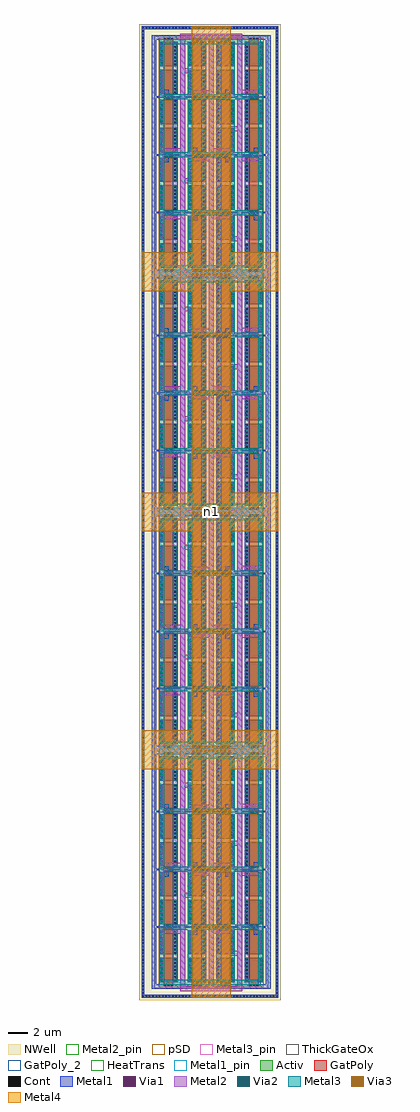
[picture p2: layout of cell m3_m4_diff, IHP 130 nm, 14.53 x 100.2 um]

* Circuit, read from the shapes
.subckt m3_m4_diff avdd n1 outx
XM1 n2 n1 avdd avdd sg13_hv_pmos w=2.5u l=1u
XM2 n2 n1 outx avdd sg13_hv_pmos w=2.5u l=1u
XM3 n3 n1 avdd avdd sg13_hv_pmos w=2.5u l=1u
XM4 n3 n1 n1 avdd sg13_hv_pmos w=2.5u l=1u
XM5 n4 n1 outx avdd sg13_hv_pmos w=2.5u l=1u
XM6 n4 n1 avdd avdd sg13_hv_pmos w=2.5u l=1u
XM7 n5 n1 n1 avdd sg13_hv_pmos w=2.5u l=1u
XM8 n5 n1 avdd avdd sg13_hv_pmos w=2.5u l=1u
XM9 n6 n1 avdd avdd sg13_hv_pmos w=2.5u l=1u
XM10 n6 n1 outx avdd sg13_hv_pmos w=2.5u l=1u
XM11 n7 n1 avdd avdd sg13_hv_pmos w=2.5u l=1u
XM12 n7 n1 n1 avdd sg13_hv_pmos w=2.5u l=1u
XM13 n8 n1 outx avdd sg13_hv_pmos w=2.5u l=1u
XM14 n8 n1 avdd avdd sg13_hv_pmos w=2.5u l=1u
XM15 n9 n1 n1 avdd sg13_hv_pmos w=2.5u l=1u
XM16 n9 n1 avdd avdd sg13_hv_pmos w=2.5u l=1u
XM17 n10 n1 avdd avdd sg13_hv_pmos w=2.5u l=1u
XM18 n10 n1 outx avdd sg13_hv_pmos w=2.5u l=1u
XM19 n11 n1 avdd avdd sg13_hv_pmos w=2.5u l=1u
XM20 n11 n1 n1 avdd sg13_hv_pmos w=2.5u l=1u
XM21 n12 n1 outx avdd sg13_hv_pmos w=2.5u l=1u
XM22 n12 n1 avdd avdd sg13_hv_pmos w=2.5u l=1u
XM23 n13 n1 n1 avdd sg13_hv_pmos w=2.5u l=1u
XM24 n13 n1 avdd avdd sg13_hv_pmos w=2.5u l=1u
XM25 n14 n1 avdd avdd sg13_hv_pmos w=2.5u l=1u
XM26 n14 n1 outx avdd sg13_hv_pmos w=2.5u l=1u
XM27 n15 n1 avdd avdd sg13_hv_pmos w=2.5u l=1u
XM28 n15 n1 n1 avdd sg13_hv_pmos w=2.5u l=1u
XM29 n16 n1 outx avdd sg13_hv_pmos w=2.5u l=1u
XM30 n16 n1 avdd avdd sg13_hv_pmos w=2.5u l=1u
XM31 n17 n1 n1 avdd sg13_hv_pmos w=2.5u l=1u
XM32 n17 n1 avdd avdd sg13_hv_pmos w=2.5u l=1u
XM33 n18 n1 avdd avdd sg13_hv_pmos w=2.5u l=1u
XM34 n18 n1 n1 avdd sg13_hv_pmos w=2.5u l=1u
XM35 n19 n1 avdd avdd sg13_hv_pmos w=2.5u l=1u
XM36 n19 n1 outx avdd sg13_hv_pmos w=2.5u l=1u
XM37 n20 n1 n1 avdd sg13_hv_pmos w=2.5u l=1u
XM38 n20 n1 avdd avdd sg13_hv_pmos w=2.5u l=1u
XM39 n21 n1 outx avdd sg13_hv_pmos w=2.5u l=1u
XM40 n21 n1 avdd avdd sg13_hv_pmos w=2.5u l=1u
XM41 n22 n1 avdd avdd sg13_hv_pmos w=2.5u l=1u
XM42 n22 n1 n1 avdd sg13_hv_pmos w=2.5u l=1u
XM43 n23 n1 avdd avdd sg13_hv_pmos w=2.5u l=1u
XM44 n23 n1 outx avdd sg13_hv_pmos w=2.5u l=1u
XM45 n24 n1 n1 avdd sg13_hv_pmos w=2.5u l=1u
XM46 n24 n1 avdd avdd sg13_hv_pmos w=2.5u l=1u
XM47 n25 n1 outx avdd sg13_hv_pmos w=2.5u l=1u
XM48 n25 n1 avdd avdd sg13_hv_pmos w=2.5u l=1u
XM49 n26 n1 avdd avdd sg13_hv_pmos w=2.5u l=1u
XM50 n26 n1 n1 avdd sg13_hv_pmos w=2.5u l=1u
XM51 n27 n1 avdd avdd sg13_hv_pmos w=2.5u l=1u
XM52 n27 n1 outx avdd sg13_hv_pmos w=2.5u l=1u
XM53 n28 n1 n1 avdd sg13_hv_pmos w=2.5u l=1u
XM54 n28 n1 avdd avdd sg13_hv_pmos w=2.5u l=1u
XM55 n29 n1 outx avdd sg13_hv_pmos w=2.5u l=1u
XM56 n29 n1 avdd avdd sg13_hv_pmos w=2.5u l=1u
XM57 n30 n1 avdd avdd sg13_hv_pmos w=2.5u l=1u
XM58 n30 n1 n1 avdd sg13_hv_pmos w=2.5u l=1u
XM59 n31 n1 avdd avdd sg13_hv_pmos w=2.5u l=1u
XM60 n31 n1 outx avdd sg13_hv_pmos w=2.5u l=1u
XM61 n32 n1 n1 avdd sg13_hv_pmos w=2.5u l=1u
XM62 n32 n1 avdd avdd sg13_hv_pmos w=2.5u l=1u
XM63 n33 n1 outx avdd sg13_hv_pmos w=2.5u l=1u
XM64 n33 n1 avdd avdd sg13_hv_pmos w=2.5u l=1u
XM65 avdd n1 n34 avdd sg13_hv_pmos w=2.5u l=1u
XM66 outx n1 n34 avdd sg13_hv_pmos w=2.5u l=1u
XM67 avdd n1 n35 avdd sg13_hv_pmos w=2.5u l=1u
XM68 n1 n1 n35 avdd sg13_hv_pmos w=2.5u l=1u
XM69 outx n1 n36 avdd sg13_hv_pmos w=2.5u l=1u
XM70 avdd n1 n36 avdd sg13_hv_pmos w=2.5u l=1u
XM71 n1 n1 n37 avdd sg13_hv_pmos w=2.5u l=1u
XM72 avdd n1 n37 avdd sg13_hv_pmos w=2.5u l=1u
XM73 avdd n1 n38 avdd sg13_hv_pmos w=2.5u l=1u
XM74 outx n1 n38 avdd sg13_hv_pmos w=2.5u l=1u
XM75 avdd n1 n39 avdd sg13_hv_pmos w=2.5u l=1u
XM76 n1 n1 n39 avdd sg13_hv_pmos w=2.5u l=1u
XM77 outx n1 n40 avdd sg13_hv_pmos w=2.5u l=1u
XM78 avdd n1 n40 avdd sg13_hv_pmos w=2.5u l=1u
XM79 n1 n1 n41 avdd sg13_hv_pmos w=2.5u l=1u
XM80 avdd n1 n41 avdd sg13_hv_pmos w=2.5u l=1u
XM81 avdd n1 n42 avdd sg13_hv_pmos w=2.5u l=1u
XM82 outx n1 n42 avdd sg13_hv_pmos w=2.5u l=1u
XM83 avdd n1 n43 avdd sg13_hv_pmos w=2.5u l=1u
XM84 n1 n1 n43 avdd sg13_hv_pmos w=2.5u l=1u
XM85 outx n1 n44 avdd sg13_hv_pmos w=2.5u l=1u
XM86 avdd n1 n44 avdd sg13_hv_pmos w=2.5u l=1u
XM87 n1 n1 n45 avdd sg13_hv_pmos w=2.5u l=1u
XM88 avdd n1 n45 avdd sg13_hv_pmos w=2.5u l=1u
XM89 avdd n1 n46 avdd sg13_hv_pmos w=2.5u l=1u
XM90 outx n1 n46 avdd sg13_hv_pmos w=2.5u l=1u
XM91 avdd n1 n47 avdd sg13_hv_pmos w=2.5u l=1u
XM92 n1 n1 n47 avdd sg13_hv_pmos w=2.5u l=1u
XM93 outx n1 n48 avdd sg13_hv_pmos w=2.5u l=1u
XM94 avdd n1 n48 avdd sg13_hv_pmos w=2.5u l=1u
XM95 n1 n1 n49 avdd sg13_hv_pmos w=2.5u l=1u
XM96 avdd n1 n49 avdd sg13_hv_pmos w=2.5u l=1u
XM97 avdd n1 n50 avdd sg13_hv_pmos w=2.5u l=1u
XM98 n1 n1 n50 avdd sg13_hv_pmos w=2.5u l=1u
XM99 avdd n1 n51 avdd sg13_hv_pmos w=2.5u l=1u
XM100 outx n1 n51 avdd sg13_hv_pmos w=2.5u l=1u
XM101 n1 n1 n52 avdd sg13_hv_pmos w=2.5u l=1u
XM102 avdd n1 n52 avdd sg13_hv_pmos w=2.5u l=1u
XM103 outx n1 n53 avdd sg13_hv_pmos w=2.5u l=1u
XM104 avdd n1 n53 avdd sg13_hv_pmos w=2.5u l=1u
XM105 avdd n1 n54 avdd sg13_hv_pmos w=2.5u l=1u
XM106 n1 n1 n54 avdd sg13_hv_pmos w=2.5u l=1u
XM107 avdd n1 n55 avdd sg13_hv_pmos w=2.5u l=1u
XM108 outx n1 n55 avdd sg13_hv_pmos w=2.5u l=1u
XM109 n1 n1 n56 avdd sg13_hv_pmos w=2.5u l=1u
XM110 avdd n1 n56 avdd sg13_hv_pmos w=2.5u l=1u
XM111 outx n1 n57 avdd sg13_hv_pmos w=2.5u l=1u
XM112 avdd n1 n57 avdd sg13_hv_pmos w=2.5u l=1u
XM113 avdd n1 n58 avdd sg13_hv_pmos w=2.5u l=1u
XM114 n1 n1 n58 avdd sg13_hv_pmos w=2.5u l=1u
XM115 avdd n1 n59 avdd sg13_hv_pmos w=2.5u l=1u
XM116 outx n1 n59 avdd sg13_hv_pmos w=2.5u l=1u
XM117 n1 n1 n60 avdd sg13_hv_pmos w=2.5u l=1u
XM118 avdd n1 n60 avdd sg13_hv_pmos w=2.5u l=1u
XM119 outx n1 n61 avdd sg13_hv_pmos w=2.5u l=1u
XM120 avdd n1 n61 avdd sg13_hv_pmos w=2.5u l=1u
XM121 avdd n1 n62 avdd sg13_hv_pmos w=2.5u l=1u
XM122 n1 n1 n62 avdd sg13_hv_pmos w=2.5u l=1u
XM123 avdd n1 n63 avdd sg13_hv_pmos w=2.5u l=1u
XM124 outx n1 n63 avdd sg13_hv_pmos w=2.5u l=1u
XM125 n1 n1 n64 avdd sg13_hv_pmos w=2.5u l=1u
XM126 avdd n1 n64 avdd sg13_hv_pmos w=2.5u l=1u
XM127 outx n1 n65 avdd sg13_hv_pmos w=2.5u l=1u
XM128 avdd n1 n65 avdd sg13_hv_pmos w=2.5u l=1u
.ends

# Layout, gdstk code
from math import pi, radians
import gdstk
lib = gdstk.Library(unit=1e-6, precision=1e-09)
def R(c, l, rs):  # rectangles x0, y0, x1, y1
    for r in rs: c.add(gdstk.rectangle(r[:2], r[2:], *l))
def A(c, l, x, y, w, h, nx, ny, dx, dy):  # array of equal rectangles
    R(c, l, [(x+i*dx, y+j*dy, x+i*dx+w, y+j*dy+h) for i in range(nx) for j in range(ny)])
def P(c, l, *ps):  # polygons
    for p in ps: c.add(gdstk.Polygon(p, *l))
Activ = (1, 0)
GatPoly = (5, 0)
GatPoly_2 = (5, 2)
Cont = (6, 0)
Metal1 = (8, 0)
Metal1_pin = (8, 2)
Metal2 = (10, 0)
Metal2_pin = (10, 2)
pSD = (14, 0)
Via1 = (19, 0)
Via2 = (29, 0)
Metal3 = (30, 0)
Metal3_pin = (30, 2)
NWell = (31, 0)
ThickGateOx = (44, 0)
Via3 = (49, 0)
Metal4 = (50, 0)
HeatTrans = (51, 0)

pmoshv = lib.new_cell('pmosHV')
R(pmoshv, Activ, [(0,0,0.3,0.3), (0,0,1.68,2.5), (1.38,0,1.68,0.3)])
R(pmoshv, GatPoly, [(0.34,-0.18,1.34,2.68)])
R(pmoshv, GatPoly_2, [(0.34,-0.18,1.34,2.68)])
A(pmoshv, Cont, 0.07, 0.07, 0.16, 0.16, 1, 3, 0, 0.365)
A(pmoshv, Cont, 1.45, 0.07, 0.16, 0.16, 1, 3, 0, 0.365)
A(pmoshv, Cont, 0.07, 1.17, 0.16, 0.16, 1, 3, 0, 0.365)
A(pmoshv, Cont, 1.45, 1.17, 0.16, 0.16, 1, 3, 0, 0.365)
R(pmoshv, Cont, [(0.07,2.27,0.23,2.43), (1.45,2.27,1.61,2.43)])
R(pmoshv, Metal1, [(0.07,0,0.23,2.5), (1.45,0,1.61,2.5)])
R(pmoshv, Metal1_pin, [(0.07,0,0.23,2.5), (1.45,0,1.61,2.5)])
R(pmoshv, pSD, [(-0.18,-0.4,1.86,2.9)])
R(pmoshv, NWell, [(-0.62,-0.62,2.3,3.12)])
R(pmoshv, ThickGateOx, [(-0.62,-0.62,2.3,3.12)])
R(pmoshv, HeatTrans, [(0.34,-0.18,1.34,2.68)])
pmoshv.add(gdstk.Label('pmosHV', (0.84,1.25), layer=63, texttype=0))
pmoshv.add(gdstk.Label('pmos', (0.84,1.25), layer=51, texttype=0))

via_stack = lib.new_cell('via_stack')
R(via_stack, Metal1, [(-0.105,-1.17,0.105,1.17)])
R(via_stack, Metal2, [(-0.1,-1.17,0.1,1.17)])
A(via_stack, Via1, -0.095, -1.12, 0.19, 0.19, 1, 6, 0, 0.41)
A(via_stack, Via2, -0.095, -1.12, 0.19, 0.19, 1, 6, 0, 0.41)
R(via_stack, Metal3, [(-0.1,-1.17,0.1,1.17)])

via_stack_1 = lib.new_cell('via_stack$1')
R(via_stack_1, Metal1, [(-0.105,-1.17,0.105,1.17)])
R(via_stack_1, Metal2, [(-0.1,-1.17,0.1,1.17)])
A(via_stack_1, Via1, -0.095, -1.12, 0.19, 0.19, 1, 6, 0, 0.41)

via_stack_3 = lib.new_cell('via_stack$3')
R(via_stack_3, GatPoly, [(-0.49,-0.15,0.49,0.15)])
A(via_stack_3, Cont, -0.42, -0.08, 0.16, 0.16, 3, 1, 0.34, 0)
R(via_stack_3, Metal1, [(-0.47,-0.08,0.47,0.08)])

p1_2_1 = lib.new_cell('p1_2$1')
R(p1_2_1, GatPoly, [(0.34,5.47,0.35,5.77), (0.34,5.47,0.35,5.77), (1.33,5.47,1.34,5.77), (1.33,5.47,1.34,5.77)])
R(p1_2_1, GatPoly_2, [(0.75,2.615,0.88,2.745)])
R(p1_2_1, Metal1_pin, [(0.085,1.185,0.215,1.315), (0.085,4.05,0.215,4.18)])
p1_2_1.add(gdstk.FlexPath([(1.53,5.36),(1.53,0),(1.53,0)], 0.5, ends="flush", simple_path=True, layer=8, datatype=0))  # Metal1
p1_2_1.add(gdstk.FlexPath([(0.15,2.86),(0.15,5.36)], 0.5, ends="flush", simple_path=True, layer=8, datatype=0))  # Metal1
p1_2_1.add(gdstk.FlexPath([(0.15,2.5),(0.15,0)], 0.5, ends="flush", simple_path=True, layer=8, datatype=0))  # Metal1
p1_2_1.add(gdstk.Reference(pmoshv, (0,2.86)))
p1_2_1.add(gdstk.Reference(pmoshv, (0,0)))
p1_2_1.add(gdstk.Reference(via_stack, (0.15,4.19)))
p1_2_1.add(gdstk.Reference(via_stack_1, (0.155,1.17)))
p1_2_1.add(gdstk.Reference(via_stack_3, (0.84,5.62)))
p1_2_1.add(gdstk.Reference(via_stack_3, (0.84,5.62)))
p1_2_1.add(gdstk.Label('S', (0.15,4.115), layer=8, texttype=25))
p1_2_1.add(gdstk.Label('D', (0.15,1.25), layer=8, texttype=25))
p1_2_1.add(gdstk.Label('G', (0.815,2.68), layer=5, texttype=1))

m3_m4_array = lib.new_cell('m3_m4_array')
R(m3_m4_array, Metal1, [(10.07,5.36,10.54,5.61), (10.09,5.61,10.095,5.77), (-0.1,11.325,0.37,11.49), (7.15,11.325,7.62,11.49), (2.82,11.65,3.29,11.815), (10.07,11.65,10.54,11.815), (-0.1,17.6,0.37,17.765), (7.15,17.6,7.62,17.765)])
R(m3_m4_array, pSD, [(-0.18,-0.4,10.62,23.61)])
m3_m4_array.add(gdstk.FlexPath([(0.37,17.52),(10.07,17.52)], 0.16, ends="flush", simple_path=True, layer=8, datatype=0))  # Metal1
m3_m4_array.add(gdstk.FlexPath([(0.37,11.57),(10.07,11.57)], 0.16, ends="flush", simple_path=True, layer=8, datatype=0))  # Metal1
m3_m4_array.add(gdstk.FlexPath([(0.37,23.64),(10.07,23.64)], 0.5, ends="flush", simple_path=True, layer=8, datatype=0))  # Metal1
m3_m4_array.add(gdstk.FlexPath([(10.09,-0.43),(0.37,-0.43)], 0.5, ends="flush", simple_path=True, layer=8, datatype=0))  # Metal1
m3_m4_array.add(gdstk.FlexPath([(2.3,-0.41),(2.3,23.55)], 0.5, ends="flush", simple_path=True, layer=8, datatype=0))  # Metal1
m3_m4_array.add(gdstk.FlexPath([(5.22,-0.41),(5.22,23.55)], 0.5, ends="flush", simple_path=True, layer=8, datatype=0))  # Metal1
m3_m4_array.add(gdstk.FlexPath([(8.14,-0.41),(8.14,23.55)], 0.5, ends="flush", simple_path=True, layer=8, datatype=0))  # Metal1
m3_m4_array.add(gdstk.FlexPath([(0.37,5.69),(10.09,5.69)], 0.16, ends="flush", simple_path=True, layer=8, datatype=0))  # Metal1
m3_m4_array.add(gdstk.FlexPath([(-0.1,18.015),(0.62,18.015),(0.62,17.44)], 0.5, ends="flush", simple_path=True, layer=8, datatype=0))  # Metal1
m3_m4_array.add(gdstk.FlexPath([(7.62,18.015),(6.9,18.015),(6.9,17.44)], 0.5, ends="flush", simple_path=True, layer=8, datatype=0))  # Metal1
m3_m4_array.add(gdstk.FlexPath([(2.82,12.065),(3.54,12.065),(3.54,11.49)], 0.5, ends="flush", simple_path=True, layer=8, datatype=0))  # Metal1
m3_m4_array.add(gdstk.FlexPath([(-0.1,11.075),(0.62,11.075),(0.62,11.65)], 0.5, ends="flush", simple_path=True, layer=8, datatype=0))  # Metal1
m3_m4_array.add(gdstk.FlexPath([(7.62,11.075),(6.9,11.075),(6.9,11.65)], 0.5, ends="flush", simple_path=True, layer=8, datatype=0))  # Metal1
m3_m4_array.add(gdstk.FlexPath([(2.82,5.11),(3.54,5.11),(3.54,5.685)], 0.5, ends="flush", simple_path=True, layer=8, datatype=0))  # Metal1
m3_m4_array.add(gdstk.FlexPath([(10.54,5.11),(9.82,5.11),(9.82,5.685)], 0.5, ends="flush", simple_path=True, layer=8, datatype=0))  # Metal1
m3_m4_array.add(gdstk.FlexPath([(0.37,-0.43),(-0.65,-0.43),(-0.65,1.64),(-0.65,1.64),(-0.65,23.64),(0.37,23.64)], 0.5, ends="flush", simple_path=True, layer=8, datatype=0))  # Metal1
m3_m4_array.add(gdstk.FlexPath([(10.07,-0.43),(11.09,-0.43),(11.09,1.64),(11.09,1.64),(11.09,23.64),(10.07,23.64)], 0.5, ends="flush", simple_path=True, layer=8, datatype=0))  # Metal1
m3_m4_array.add(gdstk.FlexPath([(10.07,17.52),(11.09,17.52)], 0.16, ends="flush", simple_path=True, layer=8, datatype=0))  # Metal1
m3_m4_array.add(gdstk.FlexPath([(10.07,11.57),(11.09,11.57)], 0.16, ends="flush", simple_path=True, layer=8, datatype=0))  # Metal1
m3_m4_array.add(gdstk.FlexPath([(10.095,5.69),(11.34,5.69)], 0.16, ends="flush", simple_path=True, layer=8, datatype=0))  # Metal1
m3_m4_array.add(gdstk.FlexPath([(0.37,5.69),(-0.4,5.69)], 0.16, ends="flush", simple_path=True, layer=8, datatype=0))  # Metal1
m3_m4_array.add(gdstk.FlexPath([(0.37,11.57),(-0.65,11.57)], 0.16, ends="flush", simple_path=True, layer=8, datatype=0))  # Metal1
m3_m4_array.add(gdstk.FlexPath([(0.37,17.52),(-0.65,17.52)], 0.16, ends="flush", simple_path=True, layer=8, datatype=0))  # Metal1
m3_m4_array.add(gdstk.FlexPath([(10.54,12.065),(9.82,12.065),(9.82,11.49)], 0.5, ends="flush", simple_path=True, layer=8, datatype=0))  # Metal1
m3_m4_array.add(gdstk.FlexPath([(2.3,23.55),(2.3,-0.68)], 0.5, ends="flush", simple_path=True, layer=10, datatype=0))  # Metal2
m3_m4_array.add(gdstk.FlexPath([(5.22,23.55),(5.22,-0.68)], 0.5, ends="flush", simple_path=True, layer=10, datatype=0))  # Metal2
m3_m4_array.add(gdstk.FlexPath([(8.14,23.55),(8.14,-0.41)], 0.5, ends="flush", simple_path=True, layer=10, datatype=0))  # Metal2
m3_m4_array.add(gdstk.FlexPath([(10.29,20.28),(10.29,18.055),(8.14,18.055)], 0.5, ends="flush", simple_path=True, layer=10, datatype=0))  # Metal2
m3_m4_array.add(gdstk.FlexPath([(10.29,8.97),(10.29,11.195),(8.14,11.195)], 0.5, ends="flush", simple_path=True, layer=10, datatype=0))  # Metal2
m3_m4_array.add(gdstk.FlexPath([(0.155,3.02),(0.155,5.245),(2.305,5.245)], 0.5, ends="flush", simple_path=True, layer=10, datatype=0))  # Metal2
m3_m4_array.add(gdstk.FlexPath([(7.37,3.02),(7.37,5.245),(5.22,5.245)], 0.5, ends="flush", simple_path=True, layer=10, datatype=0))  # Metal2
m3_m4_array.add(gdstk.FlexPath([(0.155,14.24),(0.155,12.015),(2.305,12.015)], 0.5, ends="flush", simple_path=True, layer=10, datatype=0))  # Metal2
m3_m4_array.add(gdstk.FlexPath([(2.05,-0.68),(8.14,-0.68),(8.14,-0.41)], 0.5, ends="flush", simple_path=True, layer=10, datatype=0))  # Metal2
m3_m4_array.add(gdstk.FlexPath([(2.05,23.8),(8.14,23.8),(8.14,23.53)], 0.5, ends="flush", simple_path=True, layer=10, datatype=0))  # Metal2
m3_m4_array.add(gdstk.FlexPath([(3.075,8.97),(3.075,11.195),(5.225,11.195)], 0.5, ends="flush", simple_path=True, layer=10, datatype=0))  # Metal2
m3_m4_array.add(gdstk.FlexPath([(3.075,20.19),(3.075,17.965),(5.225,17.965)], 0.5, ends="flush", simple_path=True, layer=10, datatype=0))  # Metal2
m3_m4_array.add(gdstk.FlexPath([(3.075,8.97),(3.075,8.945),(2.3,8.945),(2.3,8.945)], 0.5, ends="flush", simple_path=True, layer=10, datatype=0))  # Metal2
m3_m4_array.add(gdstk.FlexPath([(7.37,3.02),(7.37,2.995),(8.145,2.995),(8.145,2.995)], 0.5, ends="flush", simple_path=True, layer=10, datatype=0))  # Metal2
m3_m4_array.add(gdstk.FlexPath([(7.37,14.25),(7.37,12.025),(5.22,12.025)], 0.5, ends="flush", simple_path=True, layer=10, datatype=0))  # Metal2
m3_m4_array.add(gdstk.FlexPath([(7.37,14.25),(7.37,14.275),(8.145,14.275),(8.145,14.275)], 0.5, ends="flush", simple_path=True, layer=10, datatype=0))  # Metal2
m3_m4_array.add(gdstk.FlexPath([(3.075,20.19),(3.075,20.215),(2.3,20.215),(2.3,20.215)], 0.5, ends="flush", simple_path=True, layer=10, datatype=0))  # Metal2
m3_m4_array.add(gdstk.FlexPath([(0.15,23.21),(0.15,0)], 0.5, ends="flush", simple_path=True, layer=30, datatype=0))  # Metal3
m3_m4_array.add(gdstk.FlexPath([(3.07,0),(3.07,23.21)], 0.5, ends="flush", simple_path=True, layer=30, datatype=0))  # Metal3
m3_m4_array.add(gdstk.FlexPath([(7.37,23.21),(7.37,0)], 0.5, ends="flush", simple_path=True, layer=30, datatype=0))  # Metal3
m3_m4_array.add(gdstk.FlexPath([(10.54,5.66),(-0.1,5.66)], 0.5, ends="flush", simple_path=True, layer=30, datatype=0))  # Metal3
m3_m4_array.add(gdstk.FlexPath([(-0.1,11.595),(10.54,11.595)], 0.5, ends="flush", simple_path=True, layer=30, datatype=0))  # Metal3
m3_m4_array.add(gdstk.FlexPath([(10.54,17.555),(-0.1,17.555)], 0.5, ends="flush", simple_path=True, layer=30, datatype=0))  # Metal3
m3_m4_array.add(gdstk.FlexPath([(10.29,0),(10.29,23.21)], 0.5, ends="flush", simple_path=True, layer=30, datatype=0))  # Metal3
m3_m4_array.add(gdstk.FlexPath([(10.29,23.21),(10.29,23.21),(-0.1,23.21)], 0.5, ends="flush", simple_path=True, layer=30, datatype=0))  # Metal3
m3_m4_array.add(gdstk.FlexPath([(10.29,0),(10.29,0),(-0.1,0)], 0.5, ends="flush", simple_path=True, layer=30, datatype=0))  # Metal3
m3_m4_array.add(gdstk.Reference(p1_2_1, (0,5.36), x_reflection=True))
m3_m4_array.add(gdstk.Reference(p1_2_1, (2.92,5.36), x_reflection=True))
m3_m4_array.add(gdstk.Reference(p1_2_1, (10.44,5.36), rotation=pi))
m3_m4_array.add(gdstk.Reference(p1_2_1, (7.52,5.36), rotation=pi))
m3_m4_array.add(gdstk.Reference(p1_2_1, (0,11.9)))
m3_m4_array.add(gdstk.Reference(p1_2_1, (2.92,11.9)))
m3_m4_array.add(gdstk.Reference(p1_2_1, (10.44,11.9), rotation=pi, x_reflection=True))
m3_m4_array.add(gdstk.Reference(p1_2_1, (7.52,11.9), rotation=pi, x_reflection=True))
m3_m4_array.add(gdstk.Reference(p1_2_1, (7.52,11.31), rotation=pi))
m3_m4_array.add(gdstk.Reference(p1_2_1, (10.44,11.31), rotation=pi))
m3_m4_array.add(gdstk.Reference(p1_2_1, (2.92,11.31), x_reflection=True))
m3_m4_array.add(gdstk.Reference(p1_2_1, (7.52,17.85), rotation=pi, x_reflection=True))
m3_m4_array.add(gdstk.Reference(p1_2_1, (10.44,17.85), rotation=pi, x_reflection=True))
m3_m4_array.add(gdstk.Reference(p1_2_1, (2.92,17.85)))
m3_m4_array.add(gdstk.Reference(p1_2_1, (0,17.85)))
m3_m4_array.add(gdstk.Reference(via_stack_3, (0.84,-0.26)))
m3_m4_array.add(gdstk.Reference(via_stack_3, (3.76,-0.26)))
m3_m4_array.add(gdstk.Reference(via_stack_3, (6.68,-0.26)))
m3_m4_array.add(gdstk.Reference(via_stack_3, (9.6,-0.26)))
m3_m4_array.add(gdstk.Reference(p1_2_1, (0,11.31), x_reflection=True))

via_stack_4 = lib.new_cell('via_stack$4')
R(via_stack_4, Metal1, [(-1.99,-0.105,1.99,0.105)])
R(via_stack_4, Metal2, [(-1.99,-0.1,1.99,0.1)])
A(via_stack_4, Via1, -1.94, -0.095, 0.19, 0.19, 10, 1, 0.41, 0)
A(via_stack_4, Via2, -1.94, -0.095, 0.19, 0.19, 10, 1, 0.41, 0)
R(via_stack_4, Metal3, [(-1.99,-0.1,1.99,0.1)])
A(via_stack_4, Via3, -1.94, -0.095, 0.19, 0.19, 10, 1, 0.41, 0)
R(via_stack_4, Metal4, [(-1.99,-0.1,1.99,0.1)])

via_stack_5 = lib.new_cell('via_stack$5')
R(via_stack_5, Metal3, [(-1.99,-0.1,1.99,0.1)])
A(via_stack_5, Via3, -1.94, -0.095, 0.19, 0.19, 10, 1, 0.41, 0)
R(via_stack_5, Metal4, [(-1.99,-0.1,1.99,0.1)])

via_stack_6 = lib.new_cell('via_stack$6')
R(via_stack_6, Metal3, [(-1.99,-0.305,1.99,0.305)])
A(via_stack_6, Via3, -1.94, -0.3, 0.19, 0.19, 10, 2, 0.41, 0.41)
R(via_stack_6, Metal4, [(-1.99,-0.305,1.99,0.305)])

guard_ring_1 = lib.new_cell('guard_ring$1')
R(guard_ring_1, Activ, [(-7.025,-49.56,-6.725,49.56), (6.725,-49.56,7.025,49.56), (-7.025,49.56,7.025,49.86)])
P(guard_ring_1, Activ, [(-7.025,-49.86),(-7.025,49.56),(-6.725,49.56),(-6.725,-49.56),(6.725,-49.56),(6.725,49.56),(-7.025,49.56),(-7.025,49.86),(7.025,49.86),(7.025,-49.86)])
A(guard_ring_1, Cont, -6.955, -49.79, 0.16, 0.16, 20, 2, 0.34, 99.42)
A(guard_ring_1, Cont, -0.005, -49.79, 0.16, 0.16, 21, 2, 0.34, 99.42)
A(guard_ring_1, Cont, -6.955, -49.45, 0.16, 0.16, 1, 145, 0, 0.34)
A(guard_ring_1, Cont, 6.795, -49.45, 0.16, 0.16, 1, 145, 0, 0.34)
A(guard_ring_1, Cont, -6.955, -0.01, 0.16, 0.16, 1, 146, 0, 0.34)
A(guard_ring_1, Cont, 6.795, -0.01, 0.16, 0.16, 1, 146, 0, 0.34)
R(guard_ring_1, Metal1, [(-7.025,-49.86,7.025,-49.56), (-7.025,-49.56,-6.725,49.56), (6.725,-49.56,7.025,49.56), (-7.025,49.56,7.025,49.86)])
R(guard_ring_1, NWell, [(-7.265,-50.1,7.265,50.1)])
guard_ring_1.add(gdstk.Label('well', (0,-49.71), layer=63, texttype=0))

m3_m4_diff = lib.new_cell('m3_m4_diff')
R(m3_m4_diff, Metal1_pin, [(5.16,22.745,5.29,22.875)])
R(m3_m4_diff, Metal2_pin, [(5.635,22.745,5.765,22.875)])
R(m3_m4_diff, pSD, [(-0.18,-25.93,10.62,71.43)])
A(m3_m4_diff, Metal3, 10.29, -2.32, 0.25, 1.24, 1, 3, 0, 24.45)
A(m3_m4_diff, Metal3, -0.1, -2.07, 10.39, 0.74, 1, 3, 0, 24.45)
R(m3_m4_diff, Metal3_pin, [(4.65,-1.705,4.78,-1.575), (4.65,22.745,4.78,22.875)])
R(m3_m4_diff, Metal4, [(3.225,-27.11,7.225,72.61)])
m3_m4_diff.add(gdstk.FlexPath([(-1.925,47.395),(12.125,47.395)], 4, ends="flush", simple_path=True, layer=50, datatype=0))  # Metal4
m3_m4_diff.add(gdstk.FlexPath([(12.125,22.75),(-1.925,22.75)], 4, ends="flush", simple_path=True, layer=50, datatype=0))  # Metal4
m3_m4_diff.add(gdstk.FlexPath([(-1.925,-1.655),(12.125,-1.655)], 4, ends="flush", simple_path=True, layer=50, datatype=0))  # Metal4
m3_m4_diff.add(gdstk.Reference(m3_m4_array, (0,-25.53)))
m3_m4_diff.add(gdstk.Reference(via_stack_4, (-1.775,-1.655), rotation=pi/2))
m3_m4_diff.add(gdstk.Reference(m3_m4_array, (0,47.82)))
m3_m4_diff.add(gdstk.Reference(via_stack_4, (11.97,-1.655), rotation=pi/2))
m3_m4_diff.add(gdstk.Reference(via_stack_4, (-1.78,22.75), rotation=pi/2))
m3_m4_diff.add(gdstk.Reference(via_stack_5, (5.225,71.03)))
m3_m4_diff.add(gdstk.Reference(via_stack_5, (5.23,65.365)))
m3_m4_diff.add(gdstk.Reference(via_stack_5, (5.225,59.41)))
m3_m4_diff.add(gdstk.Reference(via_stack_5, (5.225,53.48)))
m3_m4_diff.add(gdstk.Reference(via_stack_6, (5.225,47.355)))
m3_m4_diff.add(gdstk.Reference(via_stack_4, (11.97,22.745), rotation=pi/2))
m3_m4_diff.add(gdstk.Reference(via_stack_4, (5.225,-26.945)))
m3_m4_diff.add(gdstk.Reference(via_stack_5, (5.225,-25.53)))
m3_m4_diff.add(gdstk.Reference(via_stack_5, (5.225,-19.875)))
m3_m4_diff.add(gdstk.Reference(via_stack_5, (5.225,-13.94)))
m3_m4_diff.add(gdstk.Reference(via_stack_4, (-1.775,47.39), rotation=pi/2))
m3_m4_diff.add(gdstk.Reference(via_stack_5, (5.225,-7.98)))
m3_m4_diff.add(gdstk.Reference(via_stack_6, (5.225,-1.56)))
m3_m4_diff.add(gdstk.Reference(via_stack_5, (5.225,4.58)))
m3_m4_diff.add(gdstk.Reference(via_stack_5, (5.225,10.515)))
m3_m4_diff.add(gdstk.Reference(via_stack_4, (11.965,47.395), rotation=pi/2))
m3_m4_diff.add(gdstk.Reference(via_stack_5, (5.225,16.475)))
m3_m4_diff.add(gdstk.Reference(via_stack_6, (5.225,22.89)))
m3_m4_diff.add(gdstk.Reference(via_stack_5, (5.225,29.03)))
m3_m4_diff.add(gdstk.Reference(via_stack_4, (5.225,72.47)))
m3_m4_diff.add(gdstk.Reference(via_stack_5, (5.225,34.965)))
m3_m4_diff.add(gdstk.Reference(via_stack_5, (5.225,40.925)))
m3_m4_diff.add(gdstk.Reference(m3_m4_array, (0,23.37)))
m3_m4_diff.add(gdstk.Reference(m3_m4_array, (0,-1.08)))
m3_m4_diff.add(gdstk.Reference(guard_ring_1, (5.1,22.75), rotation=pi))
m3_m4_diff.add(gdstk.Label('n1', (5.225,22.81), layer=8, texttype=25))
m3_m4_diff.add(gdstk.Label('avdd', (4.715,22.81), layer=30, texttype=25))
m3_m4_diff.add(gdstk.Label('outx', (5.7,22.81), layer=10, texttype=25))

lib.write_gds('m3_m4_diff.gds')
